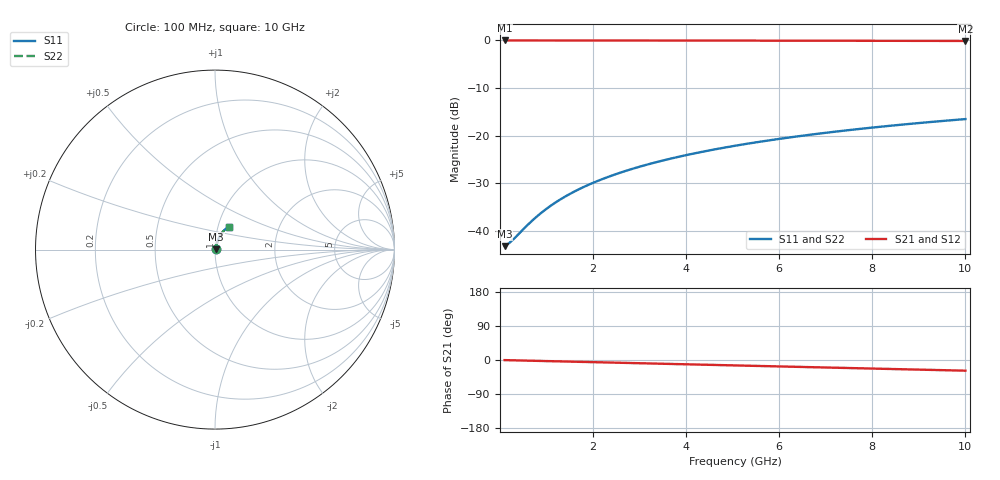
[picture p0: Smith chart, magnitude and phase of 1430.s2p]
# Hz S RI R 50.00
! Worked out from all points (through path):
!   100 points, 100 MHz to 10 GHz, reference 50 ohm
!   highest |S21| = -0.06 dB at 100 MHz (marker M1); lowest = -0.2 dB at 10 GHz (marker M2)
!   group delay of S21, straight-line fit = 7.83 ps
!   lowest |S11| = -43.2 dB at 100 MHz (marker M3), VSWR 1.01, Z = 50.7 + j0.155 ohm
!   |S11| at or under -10 dB: start of sweep to end of sweep
!   |S22| runs from -43.2 to -16.5 dB; largest |S21 - S12| = 0
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1e8  0.00675 0.00153  0.9932 -0.00491  0.9932 -0.00491  0.00675 0.00153
2e8  0.00682 0.00305  0.9931 -0.00983  0.9931 -0.00983  0.00682 0.00305
3e8  0.00689 0.00458  0.993 -0.0147  0.993 -0.0147  0.00689 0.00458
6e8  0.00716 0.00916  0.9926 -0.0295  0.9926 -0.0295  0.00716 0.00916
7e8  0.00728 0.0107  0.9924 -0.0344  0.9924 -0.0344  0.00728 0.0107
8e8  0.0074 0.0122  0.9922 -0.0393  0.9922 -0.0393  0.0074 0.0122
1e9  0.0077 0.0152  0.9917 -0.0491  0.9917 -0.0491  0.0077 0.0152
1.2e9  0.00806 0.0183  0.9911 -0.0589  0.9911 -0.0589  0.00806 0.0183
1.4e9  0.00848 0.0213  0.9904 -0.0687  0.9904 -0.0687  0.00848 0.0213
1.6e9  0.00895 0.0243  0.9895 -0.0785  0.9895 -0.0785  0.00895 0.0243
1.8e9  0.00948 0.0273  0.9886 -0.0883  0.9886 -0.0883  0.00948 0.0273
2.1e9  0.0104 0.0318  0.987 -0.1029  0.987 -0.1029  0.0104 0.0318
2.5e9  0.0118 0.0377  0.9845 -0.1224  0.9845 -0.1224  0.0118 0.0377
2.9e9  0.0134 0.0436  0.9816 -0.1417  0.9816 -0.1417  0.0134 0.0436
3.4e9  0.0158 0.0508  0.9774 -0.1659  0.9774 -0.1659  0.0158 0.0508
4.2e9  0.0203 0.0621  0.9694 -0.2042  0.9694 -0.2042  0.0203 0.0621
5.1e9  0.0265 0.0743  0.9584 -0.2467  0.9584 -0.2467  0.0265 0.0743
5.9e9  0.0328 0.0847  0.9469 -0.2839  0.9469 -0.2839  0.0328 0.0847
6.7e9  0.0399 0.0944  0.9339 -0.3205  0.9339 -0.3205  0.0399 0.0944
7.5e9  0.0478 0.1036  0.9194 -0.3565  0.9194 -0.3565  0.0478 0.1036
8.4e9  0.0574 0.1131  0.9014 -0.396  0.9014 -0.396  0.0574 0.1131
1e10  0.0764 0.1278  0.865 -0.4635  0.865 -0.4635  0.0764 0.1278
